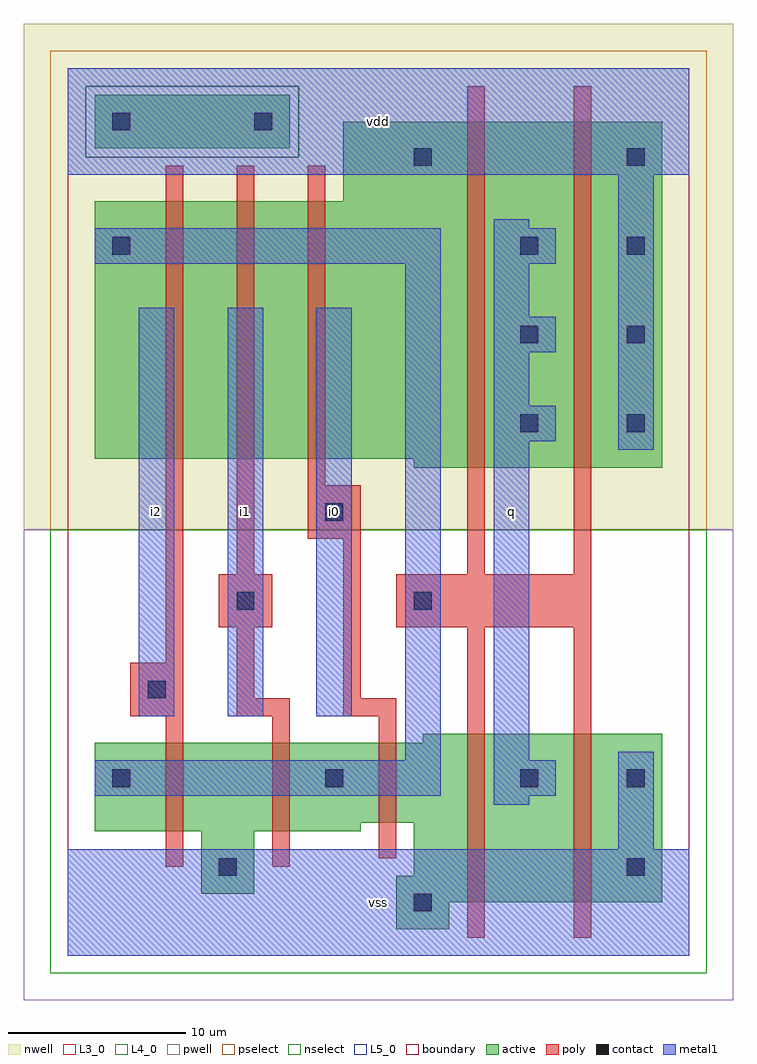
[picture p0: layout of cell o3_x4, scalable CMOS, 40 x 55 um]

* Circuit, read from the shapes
.subckt o3_x4 i0 i1 i2 q vdd vss
M1 vss i2 n1 VSUBS nfet w=5u l=1u
M2 n1 i1 vss VSUBS nfet w=5u l=1u
M3 vss i0 n1 VSUBS nfet w=4.5u l=1u
M4 q n1 vss VSUBS nfet w=9.5u l=1u m=2
M5 n2 i2 n1 vdd pfet w=14.5u l=1u
M6 n3 i1 n2 vdd pfet w=14.5u l=1u
M7 vdd i0 n3 vdd pfet w=14.5u l=1u
M8 q n1 vdd vdd pfet w=19.5u l=1u m=2
.ends

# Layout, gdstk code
import gdstk
lib = gdstk.Library(unit=1e-6, precision=1e-09)
def R(c, l, rs):  # rectangles x0, y0, x1, y1
    for r in rs: c.add(gdstk.rectangle(r[:2], r[2:], *l))
def A(c, l, x, y, w, h, nx, ny, dx, dy):  # array of equal rectangles
    R(c, l, [(x+i*dx, y+j*dy, x+i*dx+w, y+j*dy+h) for i in range(nx) for j in range(ny)])
L3_0 = (3, 0)
L4_0 = (4, 0)
L5_0 = (5, 0)
contact = (25, 0)
pwell = (41, 0)
nwell = (42, 0)
active = (43, 0)
pselect = (44, 0)
nselect = (45, 0)
poly = (46, 0)
metal1 = (49, 0)
boundary = (63, 0)

o3_x4 = lib.new_cell('o3_x4')
R(o3_x4, L3_0, [(18.5,1.5,21.5,3), (18.5,3,33.5,4.5), (7.5,3.5,10.5,7), (19.5,4.5,33.5,7.5), (1.5,7,16.5,7.5), (1.5,7.5,33.5,12), (20,12,33.5,12.5)])
R(o3_x4, L4_0, [(19.5,27.5,33.5,28), (1.5,28,33.5,42.5), (15.5,42.5,33.5,47)])
R(o3_x4, L5_0, [(1.5,45.5,12.5,48.5)])
A(o3_x4, contact, 25.5, 29.5, 1, 1, 1, 3, 0, 5)
A(o3_x4, contact, 31.5, 29.5, 1, 1, 1, 4, 0, 5)
R(o3_x4, contact, [(19.5,2.5,20.5,3.5), (8.5,4.5,9.5,5.5), (31.5,4.5,32.5,5.5), (2.5,9.5,3.5,10.5), (14.5,9.5,15.5,10.5), (25.5,9.5,26.5,10.5), (31.5,9.5,32.5,10.5), (4.5,14.5,5.5,15.5), (9.5,19.5,10.5,20.5), (19.5,19.5,20.5,20.5), (14.5,24.5,15.5,25.5), (2.5,39.5,3.5,40.5), (19.5,44.5,20.5,45.5), (2.5,46.5,3.5,47.5), (10.5,46.5,11.5,47.5)])
R(o3_x4, pwell, [(-2.5,-2.5,37.5,24)])
R(o3_x4, nwell, [(-2.5,24,37.5,52.5)])
R(o3_x4, active, [(18.5,1.5,21.5,3), (18.5,3,33.5,4.5), (7.5,3.5,10.5,7), (19.5,4.5,33.5,7.5), (1.5,7,16.5,7.5), (1.5,7.5,33.5,12), (20,12,33.5,12.5), (19.5,27.5,33.5,28), (1.5,28,33.5,42.5), (15.5,42.5,33.5,47), (1.5,45.5,12.5,48.5)])
R(o3_x4, pselect, [(-1,24,36,45), (-1,45,1,49), (13,45,36,49), (-1,49,36,51)])
R(o3_x4, nselect, [(-1,-1,36,24), (1,45,13,49)])
R(o3_x4, poly, [(22.5,1,23.5,18.5), (28.5,1,29.5,18.5), (5.5,5,6.5,13.5), (11.5,5,12.5,13.5), (17.5,5.5,18.5,13.5), (3.5,13.5,6.5,16.5), (9.5,13.5,12.5,14.5), (15.5,13.5,18.5,14.5), (9.5,14.5,10.5,18.5), (15.5,14.5,16.5,23.5), (5.5,16.5,6.5,44.5), (8.5,18.5,11.5,21.5), (18.5,18.5,29.5,21.5), (9.5,21.5,10.5,44.5), (22.5,21.5,23.5,49), (28.5,21.5,29.5,49), (13.5,23.5,16.5,26.5), (13.5,26.5,14.5,44.5)])
R(o3_x4, metal1, [(0,0,35,6), (0,0,35,6), (31,6,33,11.5), (31,6,33,11.5), (24,8.5,26,9), (24,8.5,26,9), (1.5,9,21,11), (1.5,9,21,11), (24,9,27.5,11), (24,9,27.5,11), (19,11,21,39), (19,11,21,39), (24,11,26,29), (24,11,26,29), (4,13.5,6,36.5), (4,13.5,6,36.5), (9,13.5,11,36.5), (9,13.5,11,36.5), (14,13.5,16,36.5), (14,13.5,16,36.5), (31,28.5,33,44), (31,28.5,33,44), (24,29,27.5,31), (24,29,27.5,31), (24,31,26,34), (24,31,26,34), (24,34,27.5,36), (24,34,27.5,36), (24,36,26,39), (24,36,26,39), (1.5,39,21,41), (1.5,39,21,41), (24,39,27.5,41), (24,39,27.5,41), (24,41,26,41.5), (24,41,26,41.5), (0,44,35,50), (0,44,35,50)])
R(o3_x4, boundary, [(0,0,35,50)])
o3_x4.add(gdstk.Label('i2', (5,25), layer=49, texttype=0))
o3_x4.add(gdstk.Label('i0', (15,25), layer=49, texttype=0))
o3_x4.add(gdstk.Label('i1', (10,25), layer=49, texttype=0))
o3_x4.add(gdstk.Label('vss', (17.5,3), layer=49, texttype=0))
o3_x4.add(gdstk.Label('q', (25,25), layer=49, texttype=0))
o3_x4.add(gdstk.Label('vdd', (17.5,47), layer=49, texttype=0))

lib.write_gds('o3_x4.gds')
